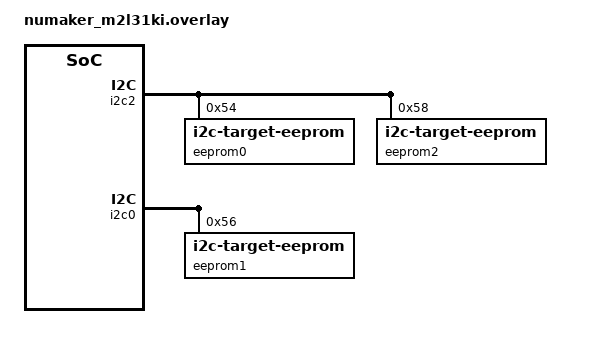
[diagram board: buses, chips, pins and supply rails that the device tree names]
/* SPDX-License-Identifier: Apache-2.0 */

&pinctrl {
	i2c2_default: i2c2_default {
		group0 {
			pinmux = <PA10MFP_I2C2_SDA>, /* UNO D6 */
				 <PA11MFP_I2C2_SCL>; /* UNO D7 */
		};
	};

	i2c0_default: i2c0_default {
		group0 {
			pinmux = <PA4MFP_I2C0_SDA>, /* UNO D14 */
				 <PA5MFP_I2C0_SCL>; /* UNO D15 */
		};
	};
};

&i2c2 {
	pinctrl-0 = <&i2c2_default>;
	pinctrl-names = "default";
	status = "okay";

	eeprom0: eeprom@54 {
		compatible = "zephyr,i2c-target-eeprom";
		reg = <0x54>;
		address-width = <16>;
		size = <1024>;
	};
	eeprom2: eeprom@58 {
		compatible = "zephyr,i2c-target-eeprom";
		reg = <0x58>;
		size = <4096>;
		address-width = <16>;
		read-only;
	};
};

&i2c0 {
	pinctrl-0 = <&i2c0_default>;
	pinctrl-names = "default";
	status = "okay";

	eeprom1: eeprom@56 {
		compatible = "zephyr,i2c-target-eeprom";
		reg = <0x56>;
		address-width = <16>;
		size = <1024>;
	};
};
